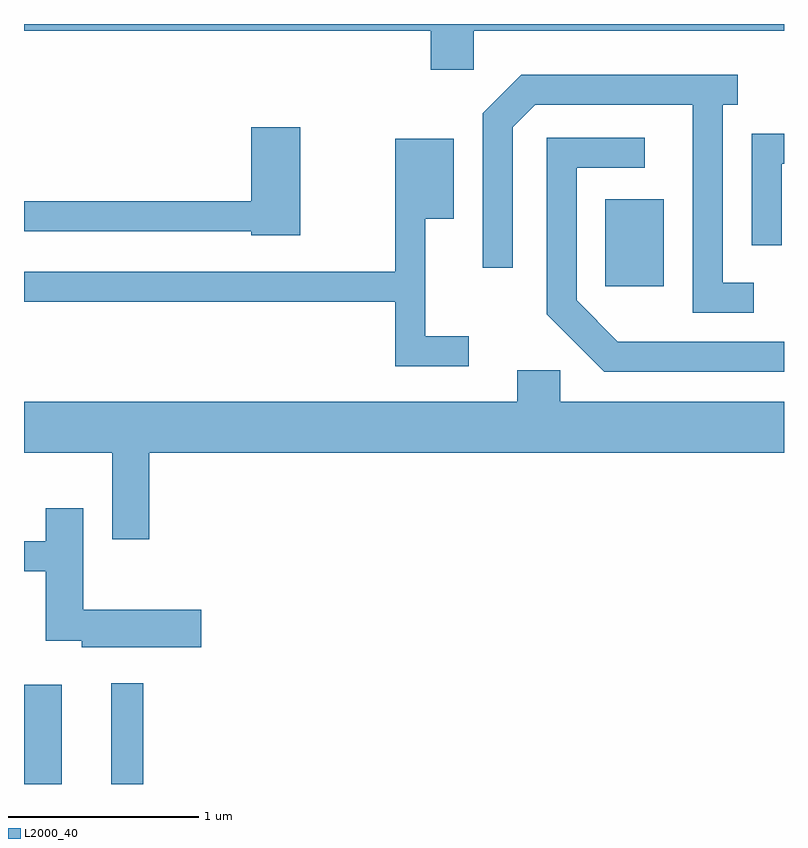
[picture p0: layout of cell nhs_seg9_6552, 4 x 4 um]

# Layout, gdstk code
import gdstk
lib = gdstk.Library(unit=1e-6, precision=1e-09)
def R(c, l, rs):  # rectangles x0, y0, x1, y1
    for r in rs: c.add(gdstk.rectangle(r[:2], r[2:], *l))
def P(c, l, *ps):  # polygons
    for p in ps: c.add(gdstk.Polygon(p, *l))
L2000_40 = (2000, 40)

nhs_seg9_6552 = lib.new_cell('nhs_seg9_6552')
R(nhs_seg9_6552, L2000_40, [(377.611,2074.432,377.809,2074.954), (378.071,2074.432,378.239,2074.963), (380.671,2077.051,380.979,2077.509)])
P(nhs_seg9_6552, L2000_40, [(379.979,2078.396),(381.611,2078.396),(381.611,2078.432),(377.611,2078.432),(377.611,2078.396),(379.751,2078.396),(379.751,2078.191),(379.979,2078.191)],
  [(381.453,2077.069),(381.289,2077.069),(381.289,2078.006),(381.368,2078.006),(381.368,2078.164),(380.229,2078.164),(380.026,2077.962),(380.026,2077.148),(380.184,2077.148),(380.184,2077.889),(380.302,2078.006),(381.131,2078.006),(381.131,2076.911),(381.453,2076.911)],
  [(379.064,2077.889),(378.806,2077.889),(378.806,2077.499),(377.611,2077.499),(377.611,2077.341),(378.806,2077.341),(378.806,2077.321),(379.064,2077.321)],
  [(381.599,2077.696),(381.611,2077.696),(381.611,2077.854),(381.441,2077.854),(381.441,2077.268),(381.599,2077.268)],
  [(381.611,2076.759),(380.737,2076.759),(380.519,2076.977),(380.519,2077.676),(380.878,2077.676),(380.878,2077.834),(380.361,2077.834),(380.361,2076.904),(380.664,2076.601),(381.611,2076.601)],
  [(379.953,2076.789),(379.724,2076.789),(379.724,2077.406),(379.874,2077.406),(379.874,2077.829),(379.566,2077.829),(379.566,2077.129),(377.611,2077.129),(377.611,2076.971),(379.566,2076.971),(379.566,2076.631),(379.953,2076.631)],
  [(378.269,2076.176),(381.611,2076.176),(381.611,2076.444),(380.434,2076.444),(380.434,2076.609),(380.206,2076.609),(380.206,2076.444),(377.611,2076.444),(377.611,2076.176),(378.076,2076.176),(378.076,2075.721),(378.269,2075.721)],
  [(378.544,2075.349),(377.924,2075.349),(377.924,2075.884),(377.726,2075.884),(377.726,2075.709),(377.611,2075.709),(377.611,2075.551),(377.726,2075.551),(377.726,2075.186),(377.916,2075.186),(377.916,2075.151),(378.544,2075.151)])

lib.write_gds('nhs_seg9_6552.gds')
